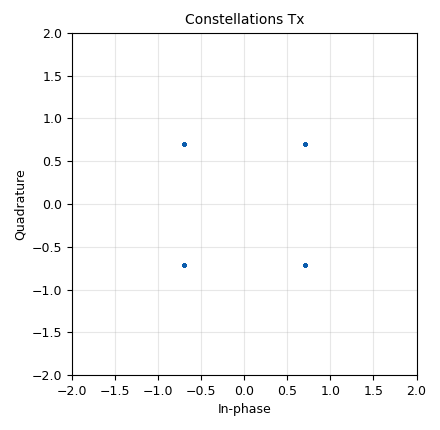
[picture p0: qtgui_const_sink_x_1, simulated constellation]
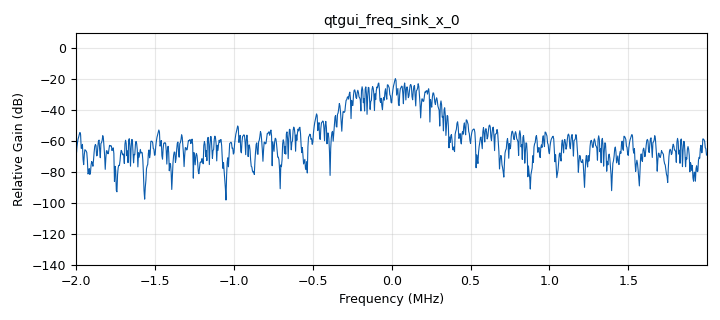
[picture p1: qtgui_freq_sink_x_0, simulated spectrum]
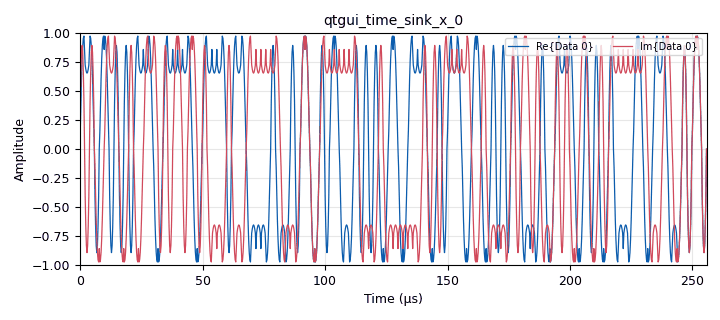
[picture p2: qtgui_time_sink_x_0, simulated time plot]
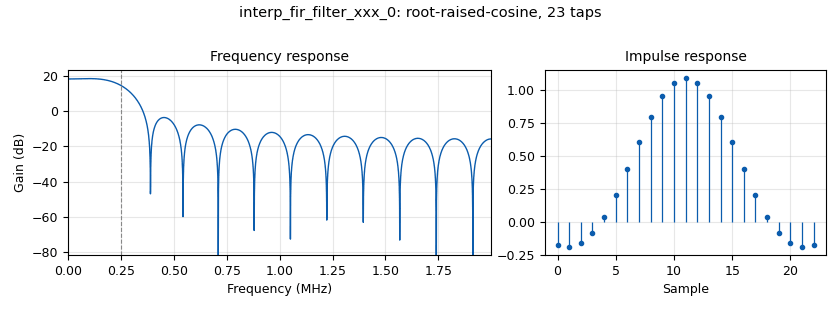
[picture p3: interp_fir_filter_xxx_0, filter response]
options:
  parameters:
    author: root
    generate_options: qt_gui
    id: test
    output_language: python
    title: tx_brf_mpsk_no_const_demod
  states: {}

blocks:
- name: arity
  id: variable
  parameters:
    value: '4'
  states: {}
- name: bits_per_chunk
  id: variable
  parameters:
    value: int(math.log2(arity))
  states: {}
- name: bits_per_symbol
  id: variable
  parameters:
    value: math.log2(arity)
  states: {}
- name: chunks_per_byte
  id: variable
  parameters:
    value: int(8/bits_per_chunk)
  states: {}
- name: nfilts
  id: variable
  parameters:
    value: '32'
  states: {}
- name: rf_freq
  id: variable
  parameters:
    value: 2500e6
  states: {}
- name: rf_gain
  id: variable_qtgui_range
  parameters:
    label: RF Gain
    start: '0'
    step: '1'
    stop: '60'
    value: '60'
  states: {}
- name: rf_samp_rate
  id: variable
  parameters:
    value: samp_rate * chunks_per_byte * rrc_interpolation
  states: {}
- name: rrc_interpolation
  id: variable
  parameters:
    value: '8'
  states: {}
- name: rrc_taps
  id: variable_rrc_filter_taps
  parameters:
    alpha: '0.35'
    gain: '8'
    ntaps: 11*sps
    samp_rate: rf_samp_rate
    sym_rate: samp_rate * chunks_per_byte
  states: {}
- name: rrc_taps_rx
  id: variable
  parameters:
    value: firdes.root_raised_cosine(nfilts, nfilts, 1.0/float(sps), 0.35, 11*sps*nfilts)
  states: {}
- name: samp_rate
  id: variable
  parameters:
    value: int(2e6 / 16)
  states: {}
- name: sps
  id: variable
  parameters:
    value: '2'
  states: {}
- name: taps
  id: variable
  parameters:
    value: '[1.0, 0.25-0.25j, 0.50 + 0.10j, -0.3 + 0.2j]'
  states: {}
- name: analog_random_source_x_0
  id: analog_random_source_x
  parameters:
    max: '256'
    min: '0'
    num_samps: '1000'
    repeat: 'True'
    type: byte
  states: {}
- name: bladeRF_sink_0
  id: bladeRF_sink
  parameters:
    bias_tee0: 'True'
    bias_tee1: 'False'
    bw: '200000'
    dac: '10000'
    dc_calibration: LPF_TUNING
    device_id: '0'
    fpga_image: ''
    fpga_reload: 'False'
    freq: rf_freq
    gain0: rf_gain
    gain1: '10'
    if_gain0: '20'
    if_gain1: '20'
    in_clk: ONBOARD
    lpf_mode: disabled
    metadata: 'False'
    nchan: '1'
    out_clk: 'False'
    ref_clk: 10e6
    sample_rate: rf_samp_rate
    sampling: internal
    show_pmic: 'False'
    smb: '0'
    tamer: internal
    trigger0: 'False'
    trigger1: 'False'
    trigger_role0: master
    trigger_role1: master
    trigger_signal0: J51_1
    trigger_signal1: J51_1
    use_dac: 'False'
    use_ref_clk: 'False'
    verbosity: verbose
    xb200: none
  states: {}
- name: blocks_packed_to_unpacked_xx_0
  id: blocks_packed_to_unpacked_xx
  parameters:
    bits_per_chunk: bits_per_chunk
    comment: |-
      2M chunks (symbols) per sec
      samp_rate * chunks_per_byte
      samp_rate is 500 K
      chunks_per_byte is 4
    endianness: gr.GR_MSB_FIRST
    type: byte
  states: {}
- name: blocks_vector_source_x_0
  id: blocks_vector_source_x
  parameters:
    repeat: 'True'
    type: byte
    vector: 20*[0,]+[1,]+[0]
  states: {state: disabled}
- name: digital_chunks_to_symbols_xx_0
  id: digital_chunks_to_symbols_xx
  parameters:
    dimension: '1'
    in_type: byte
    out_type: complex
    symbol_table: '[0.707+0.707j, -0.707+0.707j, -0.707-0.707j, 0.707-0.707j]'
  states: {}
- name: import_0
  id: import
  parameters:
    imports: import math
  states: {}
- name: interp_fir_filter_xxx_0
  id: interp_fir_filter_xxx
  parameters:
    comment: |-
      8M sample per sec
      samp_rate * chunks_per_byte * Interpolation
      500K         * 4                        * 8
    interp: rrc_interpolation
    taps: rrc_taps
    type: ccc
  states: {}
- name: note_0
  id: note
  parameters:
    note: 1 samp_rate
  states: {}
- name: note_0_0
  id: note
  parameters:
    note: 4 samp_rate
  states: {}
- name: note_0_0_0
  id: note
  parameters:
    note: 4 samp_rate
  states: {}
- name: note_0_0_0_0
  id: note
  parameters:
    note: 32 samp_rate
  states: {}
- name: qtgui_const_sink_x_1
  id: qtgui_const_sink_x
  parameters:
    name: '"Constellations Tx"'
    size: '1024'
    type: complex
  states: {}
- name: qtgui_freq_sink_x_0
  id: qtgui_freq_sink_x
  parameters:
    bw: rf_samp_rate
    fc: '0'
    fftsize: '1024'
    type: complex
  states: {}
- name: qtgui_time_sink_x_0
  id: qtgui_time_sink_x
  parameters:
    size: '1024'
    srate: rf_samp_rate
    type: complex
  states: {}
- name: virtual_sink_0
  id: virtual_sink
  parameters:
    comment: samp_rate
    stream_id: bytes_in
  states: {}
- name: virtual_sink_1
  id: virtual_sink
  parameters:
    stream_id: transmitted_signal
  states: {}
- name: virtual_source_0
  id: virtual_source
  parameters:
    stream_id: transmitted_signal
  states: {}
- name: virtual_source_0_0
  id: virtual_source
  parameters:
    comment: samp_rate
    stream_id: bytes_in
  states: {}

connections:
- [analog_random_source_x_0, '0', virtual_sink_0, '0']
- [blocks_packed_to_unpacked_xx_0, '0', digital_chunks_to_symbols_xx_0, '0']
- [blocks_vector_source_x_0, '0', virtual_sink_0, '0']
- [digital_chunks_to_symbols_xx_0, '0', interp_fir_filter_xxx_0, '0']
- [digital_chunks_to_symbols_xx_0, '0', qtgui_const_sink_x_1, '0']
- [interp_fir_filter_xxx_0, '0', virtual_sink_1, '0']
- [virtual_source_0, '0', bladeRF_sink_0, '0']
- [virtual_source_0, '0', qtgui_freq_sink_x_0, '0']
- [virtual_source_0, '0', qtgui_time_sink_x_0, '0']
- [virtual_source_0_0, '0', blocks_packed_to_unpacked_xx_0, '0']

metadata:
  file_format: 1
  grc_version: 3.10.5.1
